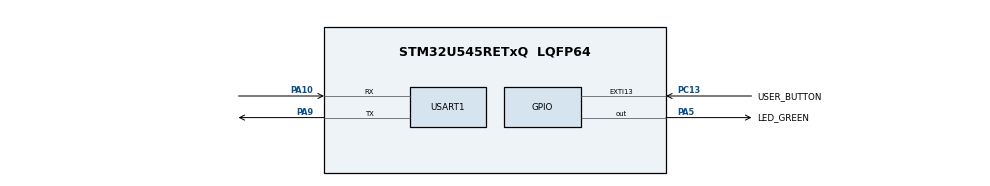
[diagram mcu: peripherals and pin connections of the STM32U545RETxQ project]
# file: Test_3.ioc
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CORTEX_M33_NS.userName=CORTEX_M33
Mcu.Family=STM32U5
Mcu.Name=STM32U545RETxQ
Mcu.Package=LQFP64
NVIC.EXTI13_IRQn=true\:0\:0\:false\:false\:true\:true\:true\:true
NVIC.PriorityGroup=NVIC_PRIORITYGROUP_4
NVIC.USART1_IRQn=true\:0\:0\:false\:false\:true\:true\:true\:true
PA10.Mode=Asynchronous
PA10.Signal=USART1_RX
PA5.GPIO_Label=LED_GREEN
PA5.GPIO_PuPd=GPIO_PULLUP
PA5.GPIO_Speed=GPIO_SPEED_FREQ_HIGH
PA5.Signal=GPIO_Output
PA9.Mode=Asynchronous
PA9.Signal=USART1_TX
PC13.GPIO_Label=USER_BUTTON
PC13.GPIO_ModeDefaultEXTI=GPIO_MODE_IT_FALLING
PC13.GPIO_PuPd=GPIO_PULLDOWN
PC13.Signal=GPXTI13
PWR.PowerMode=PWR_SMPS_SUPPLY
ProjectManager.HeapSize=0x200
ProjectManager.StackSize=0x400
ProjectManager.TargetToolchain=STM32CubeIDE
RCC.ADCFreq_Value=16000000
RCC.DACCLockSelectionVirtual=RCC_DAC1CLKSOURCE_LSI
RCC.DACCLockSelectionVirtualString=RCC_DAC1CLKSOURCE_LSI
RCC.EPOD_VALUE=4000000
RCC.HSE_VALUE=16000000
RCC.HSI48_VALUE=48000000
RCC.HSI_VALUE=16000000
RCC.LSE_VALUE=32768
RCC.LSIDIV_VALUE=32000
RCC.MSI_VALUE=4000000
RCC.USBFreq_Value=48000000
RCC.VCOOutputFreq_Value=516000000
USART1.VirtualMode-Asynchronous=VM_ASYNC
VP_ICACHE_VS_ICACHE.Mode=DirectMappedCache
VP_LPBAMQUEUE_VS_QUEUE.Mode=QUEUEMODE
VP_LPBAM_VS_SIG1.Mode=SmartRun
VP_LPBAM_VS_SIG4.Mode=LPDMA1
VP_MEMORYMAP_VS_MEMORYMAP.Mode=CurAppReg
VP_NUCLEO-U545RE-Q_VS_BSP_COMMON.Mode=COMMON
VP_PWR_VS_LPOM.Mode=PowerOptimisation
VP_PWR_VS_SECSignals.Mode=Security/Privilege
board=NUCLEO-U545RE-Q

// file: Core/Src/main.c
/* USER CODE BEGIN Header */
/**
  ******************************************************************************
  * @file           : main.c
  * @brief          : Main program body
  ******************************************************************************
  * @attention
  *
  * Copyright (c) 2025 STMicroelectronics.
  * All rights reserved.
  *
  * This software is licensed under terms that can be found in the LICENSE file
  * in the root directory of this software component.
  * If no LICENSE file comes with this software, it is provided AS-IS.
  *
  ******************************************************************************
  */
/* USER CODE END Header */
#include "main.h"
#include <stdbool.h>
#include <string.h>

UART_HandleTypeDef huart1;

/* USER CODE BEGIN PV */
volatile uint8_t received_char;
volatile uint8_t newDataReceivedFlag = 0;
/* USER CODE END PV */

void SystemClock_Config(void);
static void SystemPower_Config(void);
static void MX_GPIO_Init(void);
static void MX_ICACHE_Init(void);
static void MX_USART1_UART_Init(void);

int main(void)
{

  /* MCU Configuration--------------------------------------------------------*/

  /* Reset of all peripherals, Initializes the Flash interface and the Systick. */
  HAL_Init();

  /* Configure the System Power */
  SystemPower_Config();

  /* Configure the system clock */
  SystemClock_Config();

  /* Initialize all configured peripherals */
  MX_GPIO_Init();
  MX_ICACHE_Init();
  MX_USART1_UART_Init();
  /* USER CODE BEGIN 2 */
  HAL_UART_Receive_IT(&huart1, (uint8_t*)&received_char, 1);

  /* USER CODE END 2 */

  /* Infinite loop */
  while (1)
  {

    /* USER CODE BEGIN 3 */
	  if (newDataReceivedFlag == 1)
	  {
		  newDataReceivedFlag = 0;
		  switch (received_char)
		  {
		  case 'a':
		  {
			  char *msg = "Hello, Avinash. \n";
			  HAL_UART_Transmit(&huart1, (uint8_t*)msg, strlen(msg), 100);
			  break;
		  }
		  case 's':
		  {
			  char *msg = "Hello, Sachin. \n";
			  HAL_UART_Transmit(&huart1, (uint8_t*)msg, strlen(msg), 100);
			  break;
		  }
		  default:
		  {
			  char *msg = "Don't know you. \n";
			  HAL_UART_Transmit(&huart1, (uint8_t*)msg, strlen(msg), 100);
			  break;
		  }
		  }
		  HAL_UART_Receive_IT(&huart1, (uint8_t*)&received_char, 1);
	  }
  }
  /* USER CODE END 3 */
}

void SystemClock_Config(void)
{
  RCC_OscInitTypeDef RCC_OscInitStruct = {0};
  RCC_ClkInitTypeDef RCC_ClkInitStruct = {0};

  /** Configure the main internal regulator output voltage
  */
  if (HAL_PWREx_ControlVoltageScaling(PWR_REGULATOR_VOLTAGE_SCALE4) != HAL_OK)
  {
    Error_Handler();
  }

  /** Initializes the CPU, AHB and APB buses clocks
  */
  RCC_OscInitStruct.OscillatorType = RCC_OSCILLATORTYPE_MSI;
  RCC_OscInitStruct.MSIState = RCC_MSI_ON;
  RCC_OscInitStruct.MSICalibrationValue = RCC_MSICALIBRATION_DEFAULT;
  RCC_OscInitStruct.MSIClockRange = RCC_MSIRANGE_4;
  RCC_OscInitStruct.PLL.PLLState = RCC_PLL_NONE;
  if (HAL_RCC_OscConfig(&RCC_OscInitStruct) != HAL_OK)
  {
    Error_Handler();
  }

  /** Initializes the CPU, AHB and APB buses clocks
  */
  RCC_ClkInitStruct.ClockType = RCC_CLOCKTYPE_HCLK|RCC_CLOCKTYPE_SYSCLK
                              |RCC_CLOCKTYPE_PCLK1|RCC_CLOCKTYPE_PCLK2
                              |RCC_CLOCKTYPE_PCLK3;
  RCC_ClkInitStruct.SYSCLKSource = RCC_SYSCLKSOURCE_MSI;
  RCC_ClkInitStruct.AHBCLKDivider = RCC_SYSCLK_DIV1;
  RCC_ClkInitStruct.APB1CLKDivider = RCC_HCLK_DIV1;
  RCC_ClkInitStruct.APB2CLKDivider = RCC_HCLK_DIV1;
  RCC_ClkInitStruct.APB3CLKDivider = RCC_HCLK_DIV1;

  if (HAL_RCC_ClockConfig(&RCC_ClkInitStruct, FLASH_LATENCY_0) != HAL_OK)
  {
    Error_Handler();
  }
}

/**
  * @brief Power Configuration
  * @retval None
  */
static void SystemPower_Config(void)
{

  /*
   * Switch to SMPS regulator instead of LDO
   */
  if (HAL_PWREx_ConfigSupply(PWR_SMPS_SUPPLY) != HAL_OK)
  {
    Error_Handler();
  }
}

static void MX_ICACHE_Init(void)
{

  /** Enable instruction cache in 1-way (direct mapped cache)
  */
  if (HAL_ICACHE_ConfigAssociativityMode(ICACHE_1WAY) != HAL_OK)
  {
    Error_Handler();
  }
  if (HAL_ICACHE_Enable() != HAL_OK)
  {
    Error_Handler();
  }

}

static void MX_USART1_UART_Init(void)
{

  huart1.Instance = USART1;
  huart1.Init.BaudRate = 115200;
  huart1.Init.WordLength = UART_WORDLENGTH_8B;
  huart1.Init.StopBits = UART_STOPBITS_1;
  huart1.Init.Parity = UART_PARITY_NONE;
  huart1.Init.Mode = UART_MODE_TX_RX;
  huart1.Init.HwFlowCtl = UART_HWCONTROL_NONE;
  huart1.Init.OverSampling = UART_OVERSAMPLING_16;
  huart1.Init.OneBitSampling = UART_ONE_BIT_SAMPLE_DISABLE;
  huart1.Init.ClockPrescaler = UART_PRESCALER_DIV1;
  huart1.AdvancedInit.AdvFeatureInit = UART_ADVFEATURE_NO_INIT;
  if (HAL_UART_Init(&huart1) != HAL_OK)
  {
    Error_Handler();
  }
  if (HAL_UARTEx_SetTxFifoThreshold(&huart1, UART_TXFIFO_THRESHOLD_1_8) != HAL_OK)
  {
    Error_Handler();
  }
  if (HAL_UARTEx_SetRxFifoThreshold(&huart1, UART_RXFIFO_THRESHOLD_1_8) != HAL_OK)
  {
    Error_Handler();
  }
  if (HAL_UARTEx_DisableFifoMode(&huart1) != HAL_OK)
  {
    Error_Handler();
  }

}

static void MX_GPIO_Init(void)
{
  GPIO_InitTypeDef GPIO_InitStruct = {0};

  /* GPIO Ports Clock Enable */
  __HAL_RCC_GPIOC_CLK_ENABLE();
  __HAL_RCC_GPIOA_CLK_ENABLE();

  /*Configure GPIO pin Output Level */
  HAL_GPIO_WritePin(LED_GREEN_GPIO_Port, LED_GREEN_Pin, GPIO_PIN_RESET);

  /*Configure GPIO pin : USER_BUTTON_Pin */
  GPIO_InitStruct.Pin = USER_BUTTON_Pin;
  GPIO_InitStruct.Mode = GPIO_MODE_IT_FALLING;
  GPIO_InitStruct.Pull = GPIO_PULLDOWN;
  HAL_GPIO_Init(USER_BUTTON_GPIO_Port, &GPIO_InitStruct);

  /*Configure GPIO pin : LED_GREEN_Pin */
  GPIO_InitStruct.Pin = LED_GREEN_Pin;
  GPIO_InitStruct.Mode = GPIO_MODE_OUTPUT_PP;
  GPIO_InitStruct.Pull = GPIO_PULLUP;
  GPIO_InitStruct.Speed = GPIO_SPEED_FREQ_HIGH;
  HAL_GPIO_Init(LED_GREEN_GPIO_Port, &GPIO_InitStruct);

  /* EXTI interrupt init*/
  HAL_NVIC_SetPriority(EXTI13_IRQn, 0, 0);
  HAL_NVIC_EnableIRQ(EXTI13_IRQn);

}

/* USER CODE BEGIN 4 */
void HAL_UART_RxCpltCallback(UART_HandleTypeDef *huart)
{
  // Check if the interrupt is from the correct UART instance
  if (huart->Instance == USART1)
  {
    newDataReceivedFlag = 1;
  }
}

/* USER CODE END 4 */

void Error_Handler(void)
{
  __disable_irq();
  while (1)
  {
  }
}
